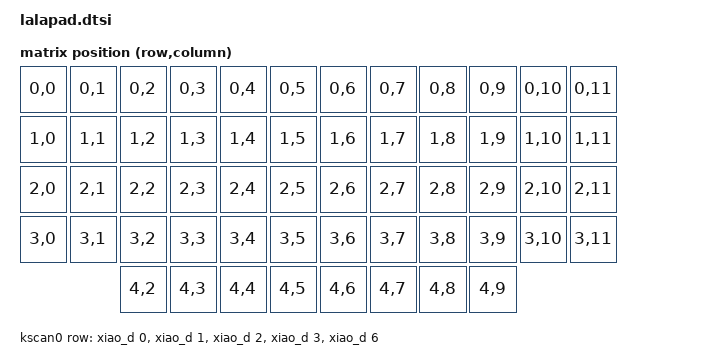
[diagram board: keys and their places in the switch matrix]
#include <dt-bindings/zmk/matrix_transform.h>
#include <dt-bindings/zmk/input_transform.h>
#include <input/processors.dtsi>
#include "lalapad-layouts.dtsi"

/ {
    chosen {
        zmk,physical-layout = &lalapad_physical_layout;
    };

    default_transform: keymap_transform_0 {
        compatible = "zmk,matrix-transform";
        columns = <12>;
        rows = <5>;
        map = <
            RC(0,0) RC(0,1) RC(0,2) RC(0,3) RC(0,4) RC(0,5) RC(0,6) RC(0,7) RC(0,8) RC(0,9) RC(0,10) RC(0,11)  
            RC(1,0) RC(1,1) RC(1,2) RC(1,3) RC(1,4) RC(1,5) RC(1,6) RC(1,7) RC(1,8) RC(1,9) RC(1,10) RC(1,11)  
            RC(2,0) RC(2,1) RC(2,2) RC(2,3) RC(2,4) RC(2,5) RC(2,6) RC(2,7) RC(2,8) RC(2,9) RC(2,10) RC(2,11)  
            RC(3,0) RC(3,1) RC(3,2) RC(3,3) RC(3,4) RC(3,5) RC(3,6) RC(3,7) RC(3,8) RC(3,9) RC(3,10) RC(3,11)  
                            RC(4,2) RC(4,3) RC(4,4) RC(4,5) RC(4,6) RC(4,7) RC(4,8) RC(4,9)  
        >;
    };

    kscan0: kscan {
        compatible = "zmk,kscan-gpio-matrix";
        wakeup-source;

        diode-direction = "col2row";
        row-gpios
            = <&xiao_d 0 (GPIO_ACTIVE_HIGH | GPIO_PULL_DOWN)> 
            , <&xiao_d 1 (GPIO_ACTIVE_HIGH | GPIO_PULL_DOWN)>
            , <&xiao_d 2 (GPIO_ACTIVE_HIGH | GPIO_PULL_DOWN)>
            , <&xiao_d 3 (GPIO_ACTIVE_HIGH | GPIO_PULL_DOWN)>
            , <&xiao_d 6 (GPIO_ACTIVE_HIGH | GPIO_PULL_DOWN)>
            ;
    };

    // Encoders
    left_encoder: left_encoder {
        compatible = "alps,ec11";
        status = "disabled";
    };
    right_encoder: right_encoder {
        compatible = "alps,ec11";
        status = "disabled";
    };
    sensors: sensors {
        compatible = "zmk,keymap-sensors";
        sensors = <&left_encoder &right_encoder>;
        triggers-per-rotation = <10>;
    };

    // Input Listners
    split_inputs_R {
        #address-cells = <1>;
        #size-cells = <0>;

        glidepoint_split_R: glidepoint_split_R@0 {
            compatible = "zmk,input-split";
            reg = <0>;
        };
    };
    split_inputs_L {
        #address-cells = <1>;
        #size-cells = <0>;

        glidepoint_split_L: glidepoint_split_L@1 {
            compatible = "zmk,input-split";
            reg = <1>;
        };
    };

    glidepoint_listener_R: glidepoint_listener_R {
        compatible = "zmk,input-listener";
        status = "disabled";
        device = <&glidepoint_split_R>;
    };
    glidepoint_listener_L: glidepoint_listener_L {
        compatible = "zmk,input-listener";
        status = "disabled";
        device = <&glidepoint_split_L>;
    };
};

// SPI
&qspi {
	status = "disabled";
};
&xiao_spi {
    status = "okay";
    cs-gpios = <&gpio0 9 GPIO_ACTIVE_LOW>,<&gpio0 10 GPIO_ACTIVE_LOW>, <&gpio0 13 (GPIO_PULL_UP)>;//dummy

    shifter: 595@0 {
        compatible = "zmk,gpio-595";
        status = "okay";
        gpio-controller;
        spi-max-frequency = <200000>;
        reg = <0>;
        #gpio-cells = <2>;
        ngpios = <8>;
    };
    
    glidepoint: glidepoint@1 {
        compatible = "cirque,pinnacle";
        status = "okay";
        reg = <1>;
        spi-max-frequency = <1000000>;
        dr-gpios = <&xiao_d 7 (GPIO_ACTIVE_HIGH)>;

        sensitivity = "2x";
        no-smoothing;
        //absolute-mode;
    };
};


